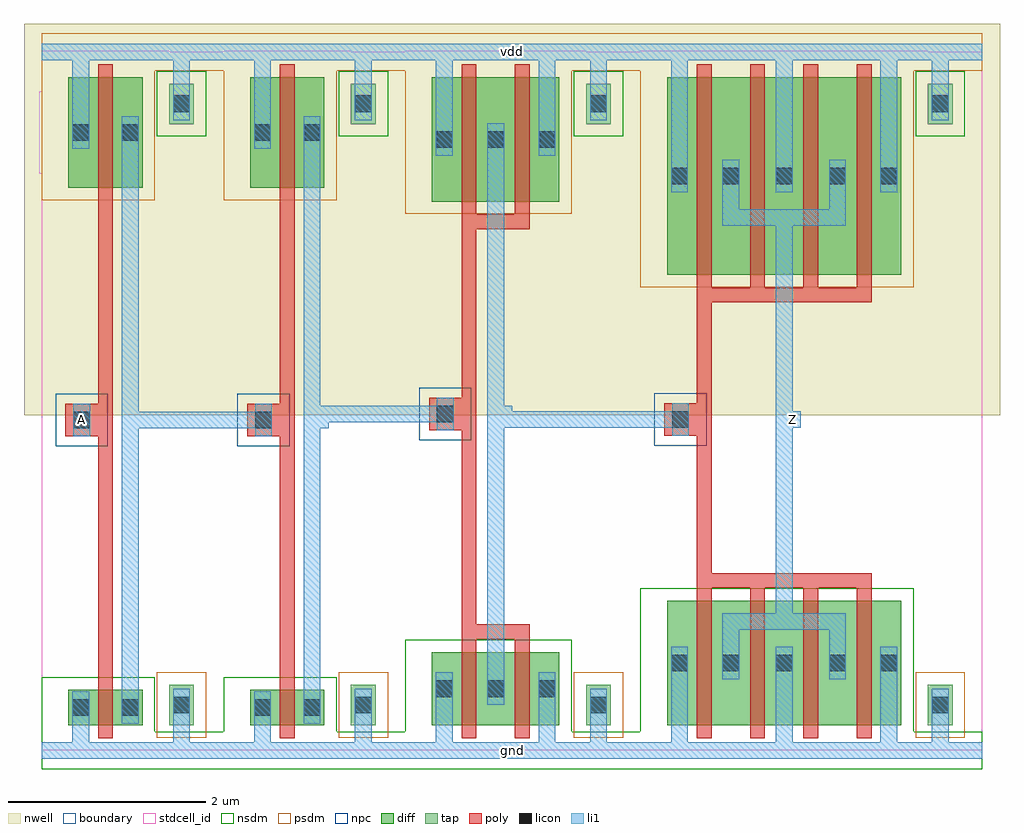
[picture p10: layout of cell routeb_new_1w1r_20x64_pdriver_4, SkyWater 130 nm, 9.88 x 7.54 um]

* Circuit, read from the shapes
.subckt routeb_new_1w1r_20x64_pdriver_4 A Z gnd vdd
XM1 routeb_new_1w1r_20x64_pinv_4_1/A A gnd gnd sky130_fd_pr__nfet_01v8 w=0.36 l=0.15
XM2 routeb_new_1w1r_20x64_pinv_5_2/A routeb_new_1w1r_20x64_pinv_4_1/A gnd gnd sky130_fd_pr__nfet_01v8 w=0.36 l=0.15
XM3 routeb_new_1w1r_20x64_pinv_9_3/A routeb_new_1w1r_20x64_pinv_5_2/A gnd gnd sky130_fd_pr__nfet_01v8 w=0.74 l=0.15 m=2
XM4 Z routeb_new_1w1r_20x64_pinv_9_3/A gnd gnd sky130_fd_pr__nfet_01v8 w=1.26 l=0.15 m=4
XM5 routeb_new_1w1r_20x64_pinv_4_1/A A vdd vdd sky130_fd_pr__pfet_01v8 w=1.12 l=0.15
XM6 routeb_new_1w1r_20x64_pinv_5_2/A routeb_new_1w1r_20x64_pinv_4_1/A vdd vdd sky130_fd_pr__pfet_01v8 w=1.12 l=0.15
XM7 routeb_new_1w1r_20x64_pinv_9_3/A routeb_new_1w1r_20x64_pinv_5_2/A vdd vdd sky130_fd_pr__pfet_01v8 w=1.26 l=0.15 m=2
XM8 Z routeb_new_1w1r_20x64_pinv_9_3/A vdd vdd sky130_fd_pr__pfet_01v8 w=2 l=0.15 m=4
.ends

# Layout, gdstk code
import gdstk
lib = gdstk.Library(unit=1e-6, precision=1e-09)
def R(c, l, rs):  # rectangles x0, y0, x1, y1
    for r in rs: c.add(gdstk.rectangle(r[:2], r[2:], *l))
def A(c, l, x, y, w, h, nx, ny, dx, dy):  # array of equal rectangles
    R(c, l, [(x+i*dx, y+j*dy, x+i*dx+w, y+j*dy+h) for i in range(nx) for j in range(ny)])
nwell = (64, 20)
diff = (65, 20)
tap = (65, 44)
poly = (66, 20)
licon = (66, 44)
li1 = (67, 20)
stdcell_id = (81, 4)
nsdm = (93, 44)
psdm = (94, 20)
npc = (95, 20)
boundary = (235, 4)

routeb_new_1w1r_20x64_co = lib.new_cell('routeb_new_1w1r_20x64_contact_11')
R(routeb_new_1w1r_20x64_co, nwell, [(-0.295,-0.255,0.545,0.585)])
R(routeb_new_1w1r_20x64_co, diff, [(0,0.02,0.25,0.31)])
R(routeb_new_1w1r_20x64_co, licon, [(0.04,0.08,0.21,0.25)])
R(routeb_new_1w1r_20x64_co, li1, [(0.04,0,0.21,0.33)])
R(routeb_new_1w1r_20x64_co, stdcell_id, [(-0.295,-0.255,0.545,0.585)])
R(routeb_new_1w1r_20x64_co, psdm, [(-0.125,-0.105,0.375,0.435)])
R(routeb_new_1w1r_20x64_co, boundary, [(-0.295,-0.255,0.545,0.585)])

routeb_new_1w1r_20x64_pm = lib.new_cell('routeb_new_1w1r_20x64_pmos_m1_w1_120_sli_dli_da_p')
R(routeb_new_1w1r_20x64_pm, nwell, [(-0.27,-0.27,1.02,1.39)])
R(routeb_new_1w1r_20x64_pm, diff, [(0,0,0.75,1.12)])
R(routeb_new_1w1r_20x64_pm, poly, [(0.3,-0.13,0.45,1.25), (0.3,-0.13,0.45,1.25)])
R(routeb_new_1w1r_20x64_pm, li1, [(0.04,0.395,0.21,0.725), (0.54,0.395,0.71,0.725)])
R(routeb_new_1w1r_20x64_pm, stdcell_id, [(-0.27,-0.27,1.02,1.39)])
R(routeb_new_1w1r_20x64_pm, psdm, [(-0.125,-0.125,0.875,1.245)])
R(routeb_new_1w1r_20x64_pm, boundary, [(-0.27,-0.27,1.02,1.39)])
routeb_new_1w1r_20x64_pm.add(gdstk.Reference(routeb_new_1w1r_20x64_co, (0,0.395)))
routeb_new_1w1r_20x64_pm.add(gdstk.Reference(routeb_new_1w1r_20x64_co, (0.5,0.395)))
routeb_new_1w1r_20x64_pm.add(gdstk.Label('G', (0.375,0.56), layer=66, texttype=5))
routeb_new_1w1r_20x64_pm.add(gdstk.Label('S', (0.125,0.56), layer=67, texttype=5))
routeb_new_1w1r_20x64_pm.add(gdstk.Label('D', (0.625,0.56), layer=67, texttype=5))

c_routeb_new_1w1r_20x64_co = lib.new_cell('routeb_new_1w1r_20x64_contact_10')
R(c_routeb_new_1w1r_20x64_co, diff, [(0,0.02,0.25,0.31)])
R(c_routeb_new_1w1r_20x64_co, licon, [(0.04,0.08,0.21,0.25)])
R(c_routeb_new_1w1r_20x64_co, li1, [(0.04,0,0.21,0.33)])
R(c_routeb_new_1w1r_20x64_co, stdcell_id, [(-0.125,-0.105,0.375,0.435)])
R(c_routeb_new_1w1r_20x64_co, nsdm, [(-0.125,-0.105,0.375,0.435)])
R(c_routeb_new_1w1r_20x64_co, boundary, [(-0.125,-0.105,0.375,0.435)])

routeb_new_1w1r_20x64_nm = lib.new_cell('routeb_new_1w1r_20x64_nmos_m1_w0_360_sli_dli_da_p')
R(routeb_new_1w1r_20x64_nm, diff, [(0,0,0.75,0.36)])
R(routeb_new_1w1r_20x64_nm, poly, [(0.3,-0.13,0.45,0.49), (0.3,-0.13,0.45,0.49)])
R(routeb_new_1w1r_20x64_nm, li1, [(0.04,0.015,0.21,0.345), (0.54,0.015,0.71,0.345)])
R(routeb_new_1w1r_20x64_nm, stdcell_id, [(-0.125,-0.13,0.875,0.49)])
R(routeb_new_1w1r_20x64_nm, nsdm, [(-0.125,-0.125,0.875,0.485)])
R(routeb_new_1w1r_20x64_nm, boundary, [(-0.125,-0.13,0.875,0.49)])
routeb_new_1w1r_20x64_nm.add(gdstk.Reference(c_routeb_new_1w1r_20x64_co, (0,0.015)))
routeb_new_1w1r_20x64_nm.add(gdstk.Reference(c_routeb_new_1w1r_20x64_co, (0.5,0.015)))
routeb_new_1w1r_20x64_nm.add(gdstk.Label('G', (0.375,0.18), layer=66, texttype=5))
routeb_new_1w1r_20x64_nm.add(gdstk.Label('S', (0.125,0.18), layer=67, texttype=5))
routeb_new_1w1r_20x64_nm.add(gdstk.Label('D', (0.625,0.18), layer=67, texttype=5))

c_routeb_new_1w1r_20x64_co_ = lib.new_cell('routeb_new_1w1r_20x64_contact_24')
R(c_routeb_new_1w1r_20x64_co_, nwell, [(-0.295,-0.215,0.545,0.625)])
R(c_routeb_new_1w1r_20x64_co_, tap, [(0,0,0.25,0.41)])
R(c_routeb_new_1w1r_20x64_co_, licon, [(0.04,0.12,0.21,0.29)])
R(c_routeb_new_1w1r_20x64_co_, li1, [(0.04,0.04,0.21,0.37)])
R(c_routeb_new_1w1r_20x64_co_, stdcell_id, [(-0.295,-0.215,0.545,0.625)])
R(c_routeb_new_1w1r_20x64_co_, nsdm, [(-0.125,-0.125,0.375,0.535)])
R(c_routeb_new_1w1r_20x64_co_, boundary, [(-0.295,-0.215,0.545,0.625)])

c_routeb_new_1w1r_20x64_co__ = lib.new_cell('routeb_new_1w1r_20x64_contact_25')
R(c_routeb_new_1w1r_20x64_co__, tap, [(0,0,0.25,0.41)])
R(c_routeb_new_1w1r_20x64_co__, licon, [(0.04,0.12,0.21,0.29)])
R(c_routeb_new_1w1r_20x64_co__, li1, [(0.04,0.04,0.21,0.37)])
R(c_routeb_new_1w1r_20x64_co__, stdcell_id, [(-0.125,-0.125,0.375,0.535)])
R(c_routeb_new_1w1r_20x64_co__, psdm, [(-0.125,-0.125,0.375,0.535)])
R(c_routeb_new_1w1r_20x64_co__, boundary, [(-0.125,-0.125,0.375,0.535)])

c_routeb_new_1w1r_20x64_co___ = lib.new_cell('routeb_new_1w1r_20x64_contact_15')
R(c_routeb_new_1w1r_20x64_co___, poly, [(0,0,0.33,0.33)])
R(c_routeb_new_1w1r_20x64_co___, licon, [(0.08,0.08,0.25,0.25)])
R(c_routeb_new_1w1r_20x64_co___, li1, [(0.08,0,0.25,0.33)])
R(c_routeb_new_1w1r_20x64_co___, stdcell_id, [(-0.1,-0.1,0.43,0.43)])
R(c_routeb_new_1w1r_20x64_co___, npc, [(-0.1,-0.1,0.43,0.43)])
R(c_routeb_new_1w1r_20x64_co___, boundary, [(-0.1,-0.1,0.43,0.43)])

routeb_new_1w1r_20x64_pi = lib.new_cell('routeb_new_1w1r_20x64_pinv_4')
R(routeb_new_1w1r_20x64_pi, nwell, [(-0.18,3.395,2.02,7.355)])
R(routeb_new_1w1r_20x64_pi, poly, [(0.57,0.745,0.72,5.565), (0.405,3.18,0.57,3.51)])
R(routeb_new_1w1r_20x64_pi, li1, [(0,-0.085,1.84,0.085), (0.31,-0.085,0.48,0.27), (1.33,0,1.5,0.46), (0.81,0.27,0.98,6.42), (0.32,3.18,0.49,3.51), (0.895,3.26,1.065,3.43), (0.31,6.09,0.48,7.155), (1.33,6.545,1.5,7.07), (0,6.985,1.84,7.155)])
R(routeb_new_1w1r_20x64_pi, stdcell_id, [(0,0,1.84,7.07), (0,0,1.84,7.07)])
R(routeb_new_1w1r_20x64_pi, nsdm, [(0,-0.19,1.84,0.19), (0,0,1.145,0.74)])
R(routeb_new_1w1r_20x64_pi, psdm, [(0,5.57,1.145,7.07), (0,6.88,1.84,7.26)])
R(routeb_new_1w1r_20x64_pi, boundary, [(0,0,1.84,7.07), (0,0,1.84,7.07)])
routeb_new_1w1r_20x64_pi.add(gdstk.Reference(routeb_new_1w1r_20x64_pm, (0.27,5.695)))
routeb_new_1w1r_20x64_pi.add(gdstk.Reference(routeb_new_1w1r_20x64_nm, (0.27,0.255)))
routeb_new_1w1r_20x64_pi.add(gdstk.Reference(c_routeb_new_1w1r_20x64_co_, (1.29,6.34)))
routeb_new_1w1r_20x64_pi.add(gdstk.Reference(c_routeb_new_1w1r_20x64_co__, (1.29,0.255)))
routeb_new_1w1r_20x64_pi.add(gdstk.Reference(c_routeb_new_1w1r_20x64_co___, (0.24,3.18)))
routeb_new_1w1r_20x64_pi.add(gdstk.Label('A', (0.405,3.345), layer=67, texttype=5))
routeb_new_1w1r_20x64_pi.add(gdstk.Label('Z', (0.98,3.345), layer=67, texttype=5))
routeb_new_1w1r_20x64_pi.add(gdstk.Label('gnd', (0.92,0), layer=67, texttype=5))
routeb_new_1w1r_20x64_pi.add(gdstk.Label('vdd', (0.92,7.07), layer=67, texttype=5))

c_routeb_new_1w1r_20x64_pm = lib.new_cell('routeb_new_1w1r_20x64_pmos_m2_w1_260_sli_dli_da_p')
R(c_routeb_new_1w1r_20x64_pm, nwell, [(-0.27,-0.27,1.56,1.53)])
R(c_routeb_new_1w1r_20x64_pm, diff, [(0,0,1.29,1.26)])
R(c_routeb_new_1w1r_20x64_pm, poly, [(0.3,-0.28,0.99,-0.13), (0.3,-0.13,0.45,1.39), (0.84,-0.13,0.99,1.39)])
A(c_routeb_new_1w1r_20x64_pm, li1, 0.04, 0.465, 0.17, 0.33, 3, 1, 0.52, 0)
R(c_routeb_new_1w1r_20x64_pm, stdcell_id, [(-0.27,-0.28,1.56,1.53)])
R(c_routeb_new_1w1r_20x64_pm, psdm, [(-0.125,-0.125,1.415,1.385)])
R(c_routeb_new_1w1r_20x64_pm, boundary, [(-0.27,-0.28,1.56,1.53)])
c_routeb_new_1w1r_20x64_pm.add(gdstk.Reference(routeb_new_1w1r_20x64_co, (0,0.465)))
c_routeb_new_1w1r_20x64_pm.add(gdstk.Reference(routeb_new_1w1r_20x64_co, (0.52,0.465)))
c_routeb_new_1w1r_20x64_pm.add(gdstk.Reference(routeb_new_1w1r_20x64_co, (1.04,0.465)))
c_routeb_new_1w1r_20x64_pm.add(gdstk.Label('G', (0.645,-0.205), layer=66, texttype=5))
c_routeb_new_1w1r_20x64_pm.add(gdstk.Label('S', (0.125,0.63), layer=67, texttype=5))
c_routeb_new_1w1r_20x64_pm.add(gdstk.Label('S', (1.165,0.63), layer=67, texttype=5))
c_routeb_new_1w1r_20x64_pm.add(gdstk.Label('D', (0.645,0.63), layer=67, texttype=5))

c_routeb_new_1w1r_20x64_nm = lib.new_cell('routeb_new_1w1r_20x64_nmos_m2_w0_740_sli_dli_da_p')
R(c_routeb_new_1w1r_20x64_nm, diff, [(0,0,1.29,0.74)])
R(c_routeb_new_1w1r_20x64_nm, poly, [(0.3,-0.13,0.45,0.87), (0.84,-0.13,0.99,0.87), (0.3,0.87,0.99,1.02)])
A(c_routeb_new_1w1r_20x64_nm, li1, 0.04, 0.205, 0.17, 0.33, 3, 1, 0.52, 0)
R(c_routeb_new_1w1r_20x64_nm, stdcell_id, [(-0.125,-0.13,1.415,1.02)])
R(c_routeb_new_1w1r_20x64_nm, nsdm, [(-0.125,-0.125,1.415,0.865)])
R(c_routeb_new_1w1r_20x64_nm, boundary, [(-0.125,-0.13,1.415,1.02)])
c_routeb_new_1w1r_20x64_nm.add(gdstk.Reference(c_routeb_new_1w1r_20x64_co, (0,0.205)))
c_routeb_new_1w1r_20x64_nm.add(gdstk.Reference(c_routeb_new_1w1r_20x64_co, (0.52,0.205)))
c_routeb_new_1w1r_20x64_nm.add(gdstk.Reference(c_routeb_new_1w1r_20x64_co, (1.04,0.205)))
c_routeb_new_1w1r_20x64_nm.add(gdstk.Label('G', (0.645,0.945), layer=66, texttype=5))
c_routeb_new_1w1r_20x64_nm.add(gdstk.Label('S', (1.165,0.37), layer=67, texttype=5))
c_routeb_new_1w1r_20x64_nm.add(gdstk.Label('S', (0.125,0.37), layer=67, texttype=5))
c_routeb_new_1w1r_20x64_nm.add(gdstk.Label('D', (0.645,0.37), layer=67, texttype=5))

c_routeb_new_1w1r_20x64_pi = lib.new_cell('routeb_new_1w1r_20x64_pinv_5')
R(c_routeb_new_1w1r_20x64_pi, nwell, [(-0.18,3.395,2.56,7.355)])
R(c_routeb_new_1w1r_20x64_pi, poly, [(0.57,1.275,0.72,5.275), (0.405,3.24,0.57,3.57)])
R(c_routeb_new_1w1r_20x64_pi, li1, [(0,-0.085,2.38,0.085), (0.31,-0.085,0.48,0.46), (1.35,-0.085,1.52,0.46), (1.87,0,2.04,0.46), (0.83,0.46,1,6.35), (0.32,3.24,0.49,3.57), (0.915,3.32,1.085,3.49), (0.31,6.02,0.48,7.155), (1.35,6.02,1.52,7.155), (1.87,6.545,2.04,7.07), (0,6.985,2.38,7.155)])
R(c_routeb_new_1w1r_20x64_pi, stdcell_id, [(0,0,2.38,7.07), (0,0,2.38,7.07)])
R(c_routeb_new_1w1r_20x64_pi, nsdm, [(0,-0.19,2.38,0.19), (0,0,1.685,1.12)])
R(c_routeb_new_1w1r_20x64_pi, psdm, [(0,5.43,1.685,7.07), (0,6.88,2.38,7.26)])
R(c_routeb_new_1w1r_20x64_pi, boundary, [(0,0,2.38,7.07), (0,0,2.38,7.07)])
c_routeb_new_1w1r_20x64_pi.add(gdstk.Reference(c_routeb_new_1w1r_20x64_pm, (0.27,5.555)))
c_routeb_new_1w1r_20x64_pi.add(gdstk.Reference(c_routeb_new_1w1r_20x64_nm, (0.27,0.255)))
c_routeb_new_1w1r_20x64_pi.add(gdstk.Reference(c_routeb_new_1w1r_20x64_co_, (1.83,6.34)))
c_routeb_new_1w1r_20x64_pi.add(gdstk.Reference(c_routeb_new_1w1r_20x64_co__, (1.83,0.255)))
c_routeb_new_1w1r_20x64_pi.add(gdstk.Reference(c_routeb_new_1w1r_20x64_co___, (0.24,3.24)))
c_routeb_new_1w1r_20x64_pi.add(gdstk.Label('A', (0.405,3.405), layer=67, texttype=5))
c_routeb_new_1w1r_20x64_pi.add(gdstk.Label('Z', (1,3.405), layer=67, texttype=5))
c_routeb_new_1w1r_20x64_pi.add(gdstk.Label('gnd', (1.19,0), layer=67, texttype=5))
c_routeb_new_1w1r_20x64_pi.add(gdstk.Label('vdd', (1.19,7.07), layer=67, texttype=5))

c_routeb_new_1w1r_20x64_pm_ = lib.new_cell('routeb_new_1w1r_20x64_pmos_m4_w2_000_sli_dli_da_p')
R(c_routeb_new_1w1r_20x64_pm_, nwell, [(-0.27,-0.27,2.64,2.27)])
R(c_routeb_new_1w1r_20x64_pm_, diff, [(0,0,2.37,2)])
A(c_routeb_new_1w1r_20x64_pm_, poly, 0.3, -0.13, 0.15, 2.26, 4, 1, 0.54, 0)
R(c_routeb_new_1w1r_20x64_pm_, poly, [(0.3,-0.28,2.07,-0.13)])
A(c_routeb_new_1w1r_20x64_pm_, li1, 0.04, 0.835, 0.17, 0.33, 3, 1, 1.06, 0)
R(c_routeb_new_1w1r_20x64_pm_, li1, [(0.56,0.495,1.81,0.665), (0.56,0.58,0.73,1), (1.64,0.58,1.81,1)])
R(c_routeb_new_1w1r_20x64_pm_, stdcell_id, [(-0.27,-0.28,2.64,2.27)])
R(c_routeb_new_1w1r_20x64_pm_, psdm, [(-0.125,-0.125,2.495,2.125)])
R(c_routeb_new_1w1r_20x64_pm_, boundary, [(-0.27,-0.28,2.64,2.27)])
c_routeb_new_1w1r_20x64_pm_.add(gdstk.Reference(routeb_new_1w1r_20x64_co, (0,0.835)))
c_routeb_new_1w1r_20x64_pm_.add(gdstk.Reference(routeb_new_1w1r_20x64_co, (0.52,0.835)))
c_routeb_new_1w1r_20x64_pm_.add(gdstk.Reference(routeb_new_1w1r_20x64_co, (1.06,0.835)))
c_routeb_new_1w1r_20x64_pm_.add(gdstk.Reference(routeb_new_1w1r_20x64_co, (1.6,0.835)))
c_routeb_new_1w1r_20x64_pm_.add(gdstk.Reference(routeb_new_1w1r_20x64_co, (2.12,0.835)))
c_routeb_new_1w1r_20x64_pm_.add(gdstk.Label('G', (1.185,-0.205), layer=66, texttype=5))
c_routeb_new_1w1r_20x64_pm_.add(gdstk.Label('S', (0.125,1), layer=67, texttype=5))
c_routeb_new_1w1r_20x64_pm_.add(gdstk.Label('S', (2.245,1), layer=67, texttype=5))
c_routeb_new_1w1r_20x64_pm_.add(gdstk.Label('S', (1.185,1), layer=67, texttype=5))
c_routeb_new_1w1r_20x64_pm_.add(gdstk.Label('D', (1.185,0.58), layer=67, texttype=5))

c_routeb_new_1w1r_20x64_nm_ = lib.new_cell('routeb_new_1w1r_20x64_nmos_m4_w1_260_sli_dli_da_p')
R(c_routeb_new_1w1r_20x64_nm_, diff, [(0,0,2.37,1.26)])
A(c_routeb_new_1w1r_20x64_nm_, poly, 0.3, -0.13, 0.15, 1.52, 4, 1, 0.54, 0)
R(c_routeb_new_1w1r_20x64_nm_, poly, [(0.3,1.39,2.07,1.54)])
A(c_routeb_new_1w1r_20x64_nm_, li1, 0.04, 0.465, 0.17, 0.33, 3, 1, 1.06, 0)
R(c_routeb_new_1w1r_20x64_nm_, li1, [(0.56,0.63,0.73,1.05), (1.64,0.63,1.81,1.05), (0.56,0.965,1.81,1.135)])
R(c_routeb_new_1w1r_20x64_nm_, stdcell_id, [(-0.125,-0.13,2.495,1.54)])
R(c_routeb_new_1w1r_20x64_nm_, nsdm, [(-0.125,-0.125,2.495,1.385)])
R(c_routeb_new_1w1r_20x64_nm_, boundary, [(-0.125,-0.13,2.495,1.54)])
c_routeb_new_1w1r_20x64_nm_.add(gdstk.Reference(c_routeb_new_1w1r_20x64_co, (0,0.465)))
c_routeb_new_1w1r_20x64_nm_.add(gdstk.Reference(c_routeb_new_1w1r_20x64_co, (0.52,0.465)))
c_routeb_new_1w1r_20x64_nm_.add(gdstk.Reference(c_routeb_new_1w1r_20x64_co, (1.06,0.465)))
c_routeb_new_1w1r_20x64_nm_.add(gdstk.Reference(c_routeb_new_1w1r_20x64_co, (1.6,0.465)))
c_routeb_new_1w1r_20x64_nm_.add(gdstk.Reference(c_routeb_new_1w1r_20x64_co, (2.12,0.465)))
c_routeb_new_1w1r_20x64_nm_.add(gdstk.Label('G', (1.185,1.465), layer=66, texttype=5))
c_routeb_new_1w1r_20x64_nm_.add(gdstk.Label('S', (2.245,0.63), layer=67, texttype=5))
c_routeb_new_1w1r_20x64_nm_.add(gdstk.Label('S', (0.125,0.63), layer=67, texttype=5))
c_routeb_new_1w1r_20x64_nm_.add(gdstk.Label('S', (1.185,0.63), layer=67, texttype=5))
c_routeb_new_1w1r_20x64_nm_.add(gdstk.Label('D', (1.185,1.05), layer=67, texttype=5))

c_routeb_new_1w1r_20x64_pi_ = lib.new_cell('routeb_new_1w1r_20x64_pinv_9')
R(c_routeb_new_1w1r_20x64_pi_, nwell, [(-0.18,3.395,3.64,7.355)])
R(c_routeb_new_1w1r_20x64_pi_, poly, [(0.57,1.795,0.72,4.535), (0.405,3.185,0.57,3.515)])
A(c_routeb_new_1w1r_20x64_pi_, li1, 0.31, -0.085, 0.17, 0.805, 3, 1, 1.06, 0)
A(c_routeb_new_1w1r_20x64_pi_, li1, 0.31, 5.65, 0.17, 1.505, 3, 1, 1.06, 0)
R(c_routeb_new_1w1r_20x64_pi_, li1, [(0,-0.085,3.46,0.085), (2.95,0,3.12,0.46), (1.37,1.22,1.54,5.48), (0.32,3.185,0.49,3.515), (1.455,3.265,1.625,3.435), (2.95,6.545,3.12,7.07), (0,6.985,3.46,7.155)])
R(c_routeb_new_1w1r_20x64_pi_, stdcell_id, [(0,0,3.46,7.07), (0,0,3.46,7.07)])
R(c_routeb_new_1w1r_20x64_pi_, nsdm, [(0,-0.19,3.46,0.19), (0,0,2.765,1.64)])
R(c_routeb_new_1w1r_20x64_pi_, psdm, [(0,4.69,2.765,7.07), (0,6.88,3.46,7.26)])
R(c_routeb_new_1w1r_20x64_pi_, boundary, [(0,0,3.46,7.07), (0,0,3.46,7.07)])
c_routeb_new_1w1r_20x64_pi_.add(gdstk.Reference(c_routeb_new_1w1r_20x64_pm_, (0.27,4.815)))
c_routeb_new_1w1r_20x64_pi_.add(gdstk.Reference(c_routeb_new_1w1r_20x64_nm_, (0.27,0.255)))
c_routeb_new_1w1r_20x64_pi_.add(gdstk.Reference(c_routeb_new_1w1r_20x64_co_, (2.91,6.34)))
c_routeb_new_1w1r_20x64_pi_.add(gdstk.Reference(c_routeb_new_1w1r_20x64_co__, (2.91,0.255)))
c_routeb_new_1w1r_20x64_pi_.add(gdstk.Reference(c_routeb_new_1w1r_20x64_co___, (0.24,3.185)))
c_routeb_new_1w1r_20x64_pi_.add(gdstk.Label('A', (0.405,3.35), layer=67, texttype=5))
c_routeb_new_1w1r_20x64_pi_.add(gdstk.Label('Z', (1.54,3.35), layer=67, texttype=5))
c_routeb_new_1w1r_20x64_pi_.add(gdstk.Label('gnd', (1.73,0), layer=67, texttype=5))
c_routeb_new_1w1r_20x64_pi_.add(gdstk.Label('vdd', (1.73,7.07), layer=67, texttype=5))

routeb_new_1w1r_20x64_pd = lib.new_cell('routeb_new_1w1r_20x64_pdriver_4')
R(routeb_new_1w1r_20x64_pd, nwell, [(-0.18,3.395,9.7,7.355)])
R(routeb_new_1w1r_20x64_pd, li1, [(0,-0.085,9.52,0.085), (0.32,3.18,0.49,3.51), (0.98,3.26,2.245,3.43), (4.595,3.265,4.765,3.435), (4.68,3.265,6.465,3.435), (7.515,3.265,7.685,3.435), (2.735,3.32,2.905,3.49), (2.82,3.32,4.085,3.49), (2.735,3.345,2.905,3.405), (4.595,3.35,4.765,3.405), (0,6.985,9.52,7.155)])
R(routeb_new_1w1r_20x64_pd, stdcell_id, [(0,0,9.52,7.07), (0,0,9.52,7.07)])
R(routeb_new_1w1r_20x64_pd, nsdm, [(0,-0.19,9.52,0.19)])
R(routeb_new_1w1r_20x64_pd, psdm, [(0,6.88,9.52,7.26)])
R(routeb_new_1w1r_20x64_pd, boundary, [(0,0,9.52,7.07), (0,0,9.52,7.07)])
routeb_new_1w1r_20x64_pd.add(gdstk.Reference(routeb_new_1w1r_20x64_pi, (0,0)))
routeb_new_1w1r_20x64_pd.add(gdstk.Reference(routeb_new_1w1r_20x64_pi, (1.84,0)))
routeb_new_1w1r_20x64_pd.add(gdstk.Reference(c_routeb_new_1w1r_20x64_pi, (3.68,0)))
routeb_new_1w1r_20x64_pd.add(gdstk.Reference(c_routeb_new_1w1r_20x64_pi_, (6.06,0)))
routeb_new_1w1r_20x64_pd.add(gdstk.Label('Z', (7.6,3.35), layer=67, texttype=5))
routeb_new_1w1r_20x64_pd.add(gdstk.Label('A', (0.405,3.345), layer=67, texttype=5))
routeb_new_1w1r_20x64_pd.add(gdstk.Label('gnd', (4.76,0), layer=67, texttype=5))
routeb_new_1w1r_20x64_pd.add(gdstk.Label('vdd', (4.76,7.07), layer=67, texttype=5))

lib.write_gds('routeb_new_1w1r_20x64_pdriver_4.gds')
